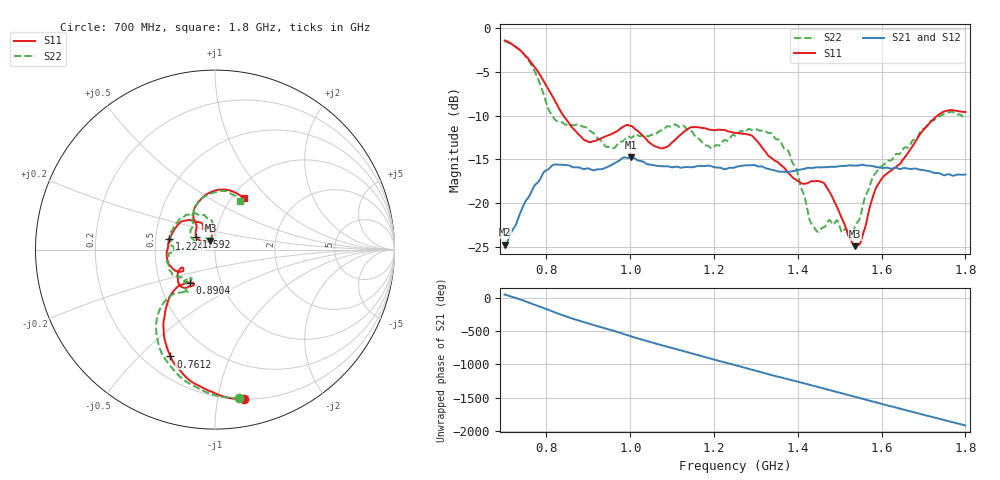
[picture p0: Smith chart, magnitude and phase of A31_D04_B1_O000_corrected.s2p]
! Created with skrf 1.9.0 (http://scikit-rf.org).
# Hz S RI R 50.0
!freq ReS11 ImS11 ReS21 ImS21 ReS12 ImS12 ReS22 ImS22
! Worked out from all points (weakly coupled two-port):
!   1601 points, 700 MHz to 1.8 GHz, reference 50 ohm
!   highest |S21| = -14.74 dB at 1.002 GHz (marker M1); lowest = -24.7 dB at 700 MHz (marker M2)
!   lowest |S11| = -24.9 dB at 1.537 GHz (marker M3), VSWR 1.12, Z = 47.3 + j4.8 ohm
!   |S11| at or under -10 dB: 840.2 MHz to 1.733 GHz (892.7 MHz wide, 69.4 % of centre)
!   |S22| runs from -24.1 to -1.5 dB; largest |S21 - S12| = 0.0033
!   S11 on the Smith chart (normalised r, x): 700 MHz: 0.20, -1.19; 761.2 MHz: 0.31, -0.62; 890.4 MHz: 0.71, -0.28; 1.224 GHz: 0.59, +0.08; 1.592 GHz: 0.80, +0.12; 1.8 GHz: 1.13, +0.74
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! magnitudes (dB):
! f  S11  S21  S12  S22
! 700 MHz  -1.4  -24.7  -24.5  -1.5
! 761.2 MHz  -3.8  -19.0  -18.9  -4.0
! 818.2 MHz  -8.1  -15.6  -15.7  -10.3
! 883.6 MHz  -12.5  -16.0  -15.9  -11.2
! 890.4 MHz  -12.8  -16.1  -16.1  -11.3
! 945.4 MHz  -12.3  -15.9  -15.9  -13.6
! 1.002 GHz  -11.2  -14.7  -14.8  -12.5
! 1.067 GHz  -13.6  -15.7  -15.7  -11.8
! 1.145 GHz  -11.3  -15.9  -15.9  -11.7
! 1.192 GHz  -11.6  -15.8  -15.8  -13.7
! 1.224 GHz  -11.6  -16.1  -16.1  -12.8
! 1.25 GHz  -12.0  -15.9  -15.8  -12.3
! 1.357 GHz  -15.5  -16.4  -16.3  -12.8
! 1.396 GHz  -17.3  -16.3  -16.2  -16.0
! 1.434 GHz  -17.5  -16.0  -15.9  -22.4
! 1.467 GHz  -18.0  -15.9  -15.9  -22.5
! 1.537 GHz  -24.9  -15.7  -15.7  -22.6
! 1.551 GHz  -24.3  -15.6  -15.7  -21.2
! 1.592 GHz  -17.8  -15.9  -15.9  -16.2
! 1.617 GHz  -16.5  -16.0  -16.0  -15.1
! 1.732 GHz  -10.0  -16.6  -16.6  -10.2
! 1.8 GHz  -9.6  -16.7  -16.7  -10.3
